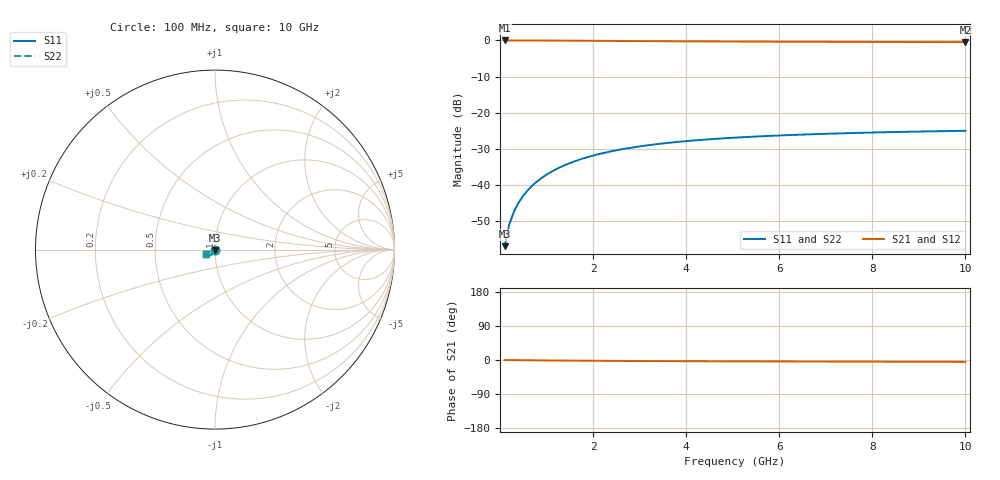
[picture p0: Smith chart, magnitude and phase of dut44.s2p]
! Touchstone file exported from HFSS 2024.1.0
!  File:  C:/UserFiles/LocalFiles/RDL_TSV_Batchsim/temp_TSV1_44_1779371372.aedt
!  Generated:  09:54:34 PM May 21, 2026
!  Design:  TSV1
!  Project:  temp_TSV1_44_1779371372
!  Setup:  Setup1
!  Solution:  Sweep
! Variables:
!  dtsv = 11.71um
!  hbump = 3um
!  htsv = 75.51um
!  lrdl = 252.1521522um
!  p = 40
!  p1 = 40.24um
!  t = 500um
!  trdl = 3um
!  wrdl = 24.89489489um
# GHz S MA R 50.000000
! Terminal data exported
! Port[1] = TSV22_T1
! Port[2] = TSV22_T2
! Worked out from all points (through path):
!   100 points, 100 MHz to 10 GHz, reference 50 ohm
!   highest |S21| = 0.00 dB at 100 MHz (marker M1); lowest = -0.5 dB at 10 GHz (marker M2)
!   lowest |S11| = -56.9 dB at 100 MHz (marker M3), VSWR 1.00, Z = 50 - j0.142 ohm
!   |S11| at or under -10 dB: start of sweep to end of sweep
!   |S22| runs from -56.9 to -25.0 dB; largest |S21 - S12| = 3.1e-15
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0.1  0.001422 -87.1  0.9999 -0.1  0.9999 -0.1  0.001422 -87.1
! Gamma 0 0 0 0
! Port Impedance 50 0 50 0
0.2  0.002844 -90.5  0.9997 -0.2  0.9997 -0.2  0.002844 -90.5
0.3  0.004268 -92.6  0.9996 -0.4  0.9996 -0.4  0.004268 -92.6
0.4  0.005687 -94.3  0.9993 -0.5  0.9993 -0.5  0.005687 -94.3
0.5  0.007097 -96.0  0.999 -0.6  0.999 -0.6  0.007096 -96.0
0.6  0.008492 -97.5  0.9986 -0.7  0.9986 -0.7  0.008492 -97.5
0.7  0.00987 -99.1  0.9981 -0.8  0.9981 -0.8  0.00987 -99.1
0.8  0.01123 -100.5  0.9976 -0.9  0.9976 -0.9  0.01123 -100.5
0.9  0.01257 -102.0  0.997 -1.0  0.997 -1.0  0.01257 -102.0
1.1  0.01517 -104.8  0.9958 -1.2  0.9958 -1.2  0.01517 -104.8
1.4  0.01888 -108.7  0.9936 -1.5  0.9936 -1.5  0.01888 -108.7
1.6  0.02121 -111.2  0.992 -1.7  0.992 -1.7  0.02121 -111.2
1.8  0.02341 -113.6  0.9903 -1.9  0.9903 -1.9  0.02341 -113.6
2.1  0.02649 -117.0  0.9877 -2.1  0.9877 -2.1  0.02649 -117.0
2.5  0.03018 -121.1  0.9843 -2.4  0.9843 -2.4  0.03018 -121.1
2.9  0.03342 -124.8  0.9809 -2.6  0.9809 -2.6  0.03341 -124.8
3.4  0.03691 -129.0  0.9769 -2.9  0.9769 -2.9  0.03691 -129.0
4.2  0.04144 -134.5  0.9711 -3.2  0.9711 -3.2  0.04144 -134.5
5.1  0.04536 -139.6  0.9656 -3.5  0.9656 -3.5  0.04536 -139.6
6.7  0.05033 -146.5  0.9581 -4.0  0.9581 -4.0  0.05033 -146.5
8.4  0.05386 -151.8  0.9526 -4.5  0.9526 -4.5  0.05386 -151.8
10  0.05619 -155.7  0.9488 -4.9  0.9488 -4.9  0.05619 -155.7
